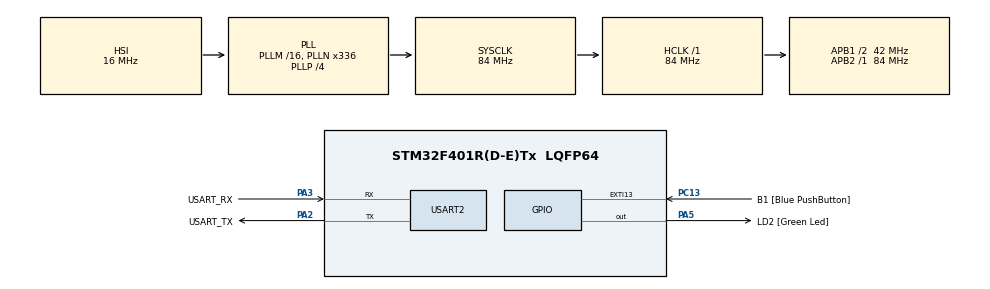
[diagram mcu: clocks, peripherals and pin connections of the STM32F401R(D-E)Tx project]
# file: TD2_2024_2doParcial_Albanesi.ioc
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FREERTOS.Tasks01=defaultTask,24,128,StartDefaultTask,Default,NULL,Dynamic,NULL,NULL
FREERTOS.configUSE_NEWLIB_REENTRANT=1
Mcu.Family=STM32F4
Mcu.Name=STM32F401R(D-E)Tx
Mcu.Package=LQFP64
NVIC.PriorityGroup=NVIC_PRIORITYGROUP_4
NVIC.TIM1_UP_TIM10_IRQn=true\:15\:0\:false\:false\:true\:false\:false\:true\:true
NVIC.TimeBase=TIM1_UP_TIM10_IRQn
NVIC.TimeBaseIP=TIM1
PA13.GPIO_Label=TMS
PA13.Mode=Serial_Wire
PA13.Signal=SYS_JTMS-SWDIO
PA14.GPIO_Label=TCK
PA14.Mode=Serial_Wire
PA14.Signal=SYS_JTCK-SWCLK
PA2.GPIO_Label=USART_TX
PA2.GPIO_Mode=GPIO_MODE_AF_PP
PA2.GPIO_PuPd=GPIO_NOPULL
PA2.GPIO_Speed=GPIO_SPEED_FREQ_LOW
PA2.Mode=Asynchronous
PA2.Signal=USART2_TX
PA3.GPIO_Label=USART_RX
PA3.GPIO_Mode=GPIO_MODE_AF_PP
PA3.GPIO_PuPd=GPIO_NOPULL
PA3.GPIO_Speed=GPIO_SPEED_FREQ_LOW
PA3.Mode=Asynchronous
PA3.Signal=USART2_RX
PA5.GPIO_Label=LD2 [Green Led]
PA5.GPIO_Mode=GPIO_MODE_OUTPUT_PP
PA5.GPIO_PuPd=GPIO_NOPULL
PA5.GPIO_Speed=GPIO_SPEED_FREQ_LOW
PA5.Signal=GPIO_Output
PB3.GPIO_Label=SWO
PB3.Signal=SYS_JTDO-SWO
PC13-ANTI_TAMP.GPIO_Label=B1 [Blue PushButton]
PC13-ANTI_TAMP.GPIO_ModeDefaultEXTI=GPIO_MODE_IT_FALLING
PC13-ANTI_TAMP.GPIO_PuPd=GPIO_NOPULL
PC13-ANTI_TAMP.Signal=GPXTI13
PC14-OSC32_IN.Mode=LSE-External-Oscillator
PC14-OSC32_IN.Signal=RCC_OSC32_IN
PC15-OSC32_OUT.Mode=LSE-External-Oscillator
PC15-OSC32_OUT.Signal=RCC_OSC32_OUT
PH0\ -\ OSC_IN.Mode=HSE-External-Clock-Source
PH0\ -\ OSC_IN.Signal=RCC_OSC_IN
PH1\ -\ OSC_OUT.Mode=HSE-External-Clock-Source
PH1\ -\ OSC_OUT.Signal=RCC_OSC_OUT
ProjectManager.HeapSize=0x200
ProjectManager.StackSize=0x400
ProjectManager.TargetToolchain=STM32CubeIDE
RCC.48MHZClocksFreq_Value=48000000
RCC.AHBFreq_Value=84000000
RCC.APB1CLKDivider=RCC_HCLK_DIV2
RCC.APB1Freq_Value=42000000
RCC.APB1TimFreq_Value=84000000
RCC.APB2Freq_Value=84000000
RCC.APB2TimFreq_Value=84000000
RCC.CortexFreq_Value=84000000
RCC.HCLKFreq_Value=84000000
RCC.HSE_VALUE=8000000
RCC.HSI_VALUE=16000000
RCC.PLLN=336
RCC.PLLP=RCC_PLLP_DIV4
RCC.PLLQ=7
RCC.SYSCLKFreq_VALUE=84000000
RCC.SYSCLKSource=RCC_SYSCLKSOURCE_PLLCLK
RCC.VCOOutputFreq_Value=336000000
USART2.VirtualMode=VM_ASYNC
VP_FREERTOS_VS_CMSIS_V2.Mode=CMSIS_V2
VP_SYS_VS_tim1.Mode=TIM1
board=NUCLEO-F401RE

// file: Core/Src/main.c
/* USER CODE BEGIN Header */
/**
  ******************************************************************************
  * @file           : main.c
  * @brief          : Main program body
  * @author			: Tomás Agustín Albanesi (171.604-9)
  * @subject		: Técnicas Digitales II
  * @year			: 2024
  * @course			: R4051
  * @title			: 2do Parcial FreeRTOS
  ******************************************************************************
  * @attention
  *
  * Copyright (c) 2024 STMicroelectronics.
  * All rights reserved.
  *
  * This software is licensed under terms that can be found in the LICENSE file
  * in the root directory of this software component.
  * If no LICENSE file comes with this software, it is provided AS-IS.
  *
  ******************************************************************************
  */
/* USER CODE END Header */
#include "main.h"
#include "cmsis_os.h"

/* USER CODE BEGIN Includes */
#include "task.h"
/* USER CODE END Includes */

/* USER CODE BEGIN PD */
#define PRIORIDAD_TAREA_BTN   (configMAX_PRIORITIES - 1)
#define PRIORIDAD_TAREA_ON    (tskIDLE_PRIORITY + 2)
#define PRIORIDAD_TAREA_OFF   (tskIDLE_PRIORITY + 2)

#define PERIODO_BTN_MS 20
#define TIEMPO_PULSACION_MS 2000
/* USER CODE END PD */

UART_HandleTypeDef huart2;

/* Definitions for defaultTask */
osThreadId_t defaultTaskHandle;
const osThreadAttr_t defaultTask_attributes = {
  .name = "defaultTask",
  .stack_size = 128 * 4,
  .priority = (osPriority_t) osPriorityNormal,
};

/* USER CODE BEGIN PV */
TaskHandle_t xHandleTareaOn = NULL, xHandleTareaOff = NULL;
/* USER CODE END PV */

void SystemClock_Config(void);
static void MX_GPIO_Init(void);
static void MX_USART2_UART_Init(void);
void StartDefaultTask(void *argument);

/* USER CODE BEGIN 0 */
void tarea_on(void *p)
{
    while (1)
    {
        HAL_GPIO_WritePin(LD2_GPIO_Port, LD2_Pin, GPIO_PIN_SET);
        vTaskDelay(500 / portTICK_PERIOD_MS);
    }
}

void tarea_off(void *p)
{
    while (1)
    {
        HAL_GPIO_WritePin(LD2_GPIO_Port, LD2_Pin, GPIO_PIN_RESET);
        vTaskDelay(500 / portTICK_PERIOD_MS);
    }
}

void tarea_btn(void *p)
{
	const TickType_t tiempo_limite = pdMS_TO_TICKS(TIEMPO_PULSACION_MS); // 2 segundos en ticks
	TickType_t tiempo_inicio;
	int estado = 0;

	while (1)
	{
		// Detecto cuando el pulsador se presiona
	    if (HAL_GPIO_ReadPin(B1_GPIO_Port, B1_Pin) == GPIO_PIN_RESET)
	    {

	    	// Tomo el tiempo de inicio
	    	tiempo_inicio = xTaskGetTickCount();

	    	while (HAL_GPIO_ReadPin(B1_GPIO_Port, B1_Pin) == GPIO_PIN_RESET)
	        {
	    		// Si la diferencia entre el tiempo actual y el tiempo de inicio es > 2seg
	    		if((xTaskGetTickCount() - tiempo_inicio) >= tiempo_limite)
	    		{
		        	estado = (estado + 1) % 3;

		        	// Switcheo entre los 3 estados posibles
		        	switch (estado)
		        	{
						case 0:
							vTaskPrioritySet(xHandleTareaOn, PRIORIDAD_TAREA_ON);
							vTaskPrioritySet(xHandleTareaOff, PRIORIDAD_TAREA_OFF);
							break;
						case 1:
							vTaskPrioritySet(xHandleTareaOn, tskIDLE_PRIORITY+1);
							vTaskPrioritySet(xHandleTareaOff, PRIORIDAD_TAREA_OFF);
							break;
						case 2:
							vTaskPrioritySet(xHandleTareaOn, PRIORIDAD_TAREA_ON);
							vTaskPrioritySet(xHandleTareaOff, tskIDLE_PRIORITY+1);
							break;
		        	}

		        	// Inserto una pequeña demora cuando el pulsador se suelta
                    while (HAL_GPIO_ReadPin(B1_GPIO_Port, B1_Pin) == GPIO_PIN_SET)
                    {
                        vTaskDelay(pdMS_TO_TICKS(20));
                    }
		        	break;
	    		}
	        }

	    }

	    // Demoro 20 mseg
	    vTaskDelay(pdMS_TO_TICKS(PERIODO_BTN_MS));
	}
}
/* USER CODE END 0 */

int main(void)
{

  /* MCU Configuration--------------------------------------------------------*/

  /* Reset of all peripherals, Initializes the Flash interface and the Systick. */
  HAL_Init();

  /* Configure the system clock */
  SystemClock_Config();

  /* Initialize all configured peripherals */
  MX_GPIO_Init();
  MX_USART2_UART_Init();

  /* Init scheduler */
  osKernelInitialize();

  /* Create the thread(s) */
  /* creation of defaultTask */
  defaultTaskHandle = osThreadNew(StartDefaultTask, NULL, &defaultTask_attributes);

  /* USER CODE BEGIN RTOS_THREADS */
  /* add threads, ... */
  xTaskCreate(tarea_btn, "TareaBTN", configMINIMAL_STACK_SIZE, NULL, PRIORIDAD_TAREA_BTN, NULL);
  xTaskCreate(tarea_on, "TareaON", configMINIMAL_STACK_SIZE, NULL, PRIORIDAD_TAREA_ON, &xHandleTareaOn);
  xTaskCreate(tarea_off, "TareaOFF", configMINIMAL_STACK_SIZE, NULL, PRIORIDAD_TAREA_OFF, &xHandleTareaOff);
  /* USER CODE END RTOS_THREADS */

  /* Start scheduler */
  osKernelStart();

  /* We should never get here as control is now taken by the scheduler */

  /* Infinite loop */
  while (1)
  {

  }
}

void SystemClock_Config(void)
{
  RCC_OscInitTypeDef RCC_OscInitStruct = {0};
  RCC_ClkInitTypeDef RCC_ClkInitStruct = {0};

  /** Configure the main internal regulator output voltage
  */
  __HAL_RCC_PWR_CLK_ENABLE();
  __HAL_PWR_VOLTAGESCALING_CONFIG(PWR_REGULATOR_VOLTAGE_SCALE2);

  /** Initializes the RCC Oscillators according to the specified parameters
  * in the RCC_OscInitTypeDef structure.
  */
  RCC_OscInitStruct.OscillatorType = RCC_OSCILLATORTYPE_HSI;
  RCC_OscInitStruct.HSIState = RCC_HSI_ON;
  RCC_OscInitStruct.HSICalibrationValue = RCC_HSICALIBRATION_DEFAULT;
  RCC_OscInitStruct.PLL.PLLState = RCC_PLL_ON;
  RCC_OscInitStruct.PLL.PLLSource = RCC_PLLSOURCE_HSI;
  RCC_OscInitStruct.PLL.PLLM = 16;
  RCC_OscInitStruct.PLL.PLLN = 336;
  RCC_OscInitStruct.PLL.PLLP = RCC_PLLP_DIV4;
  RCC_OscInitStruct.PLL.PLLQ = 7;
  if (HAL_RCC_OscConfig(&RCC_OscInitStruct) != HAL_OK)
  {
    Error_Handler();
  }

  /** Initializes the CPU, AHB and APB buses clocks
  */
  RCC_ClkInitStruct.ClockType = RCC_CLOCKTYPE_HCLK|RCC_CLOCKTYPE_SYSCLK
                              |RCC_CLOCKTYPE_PCLK1|RCC_CLOCKTYPE_PCLK2;
  RCC_ClkInitStruct.SYSCLKSource = RCC_SYSCLKSOURCE_PLLCLK;
  RCC_ClkInitStruct.AHBCLKDivider = RCC_SYSCLK_DIV1;
  RCC_ClkInitStruct.APB1CLKDivider = RCC_HCLK_DIV2;
  RCC_ClkInitStruct.APB2CLKDivider = RCC_HCLK_DIV1;

  if (HAL_RCC_ClockConfig(&RCC_ClkInitStruct, FLASH_LATENCY_2) != HAL_OK)
  {
    Error_Handler();
  }
}

static void MX_USART2_UART_Init(void)
{

  huart2.Instance = USART2;
  huart2.Init.BaudRate = 115200;
  huart2.Init.WordLength = UART_WORDLENGTH_8B;
  huart2.Init.StopBits = UART_STOPBITS_1;
  huart2.Init.Parity = UART_PARITY_NONE;
  huart2.Init.Mode = UART_MODE_TX_RX;
  huart2.Init.HwFlowCtl = UART_HWCONTROL_NONE;
  huart2.Init.OverSampling = UART_OVERSAMPLING_16;
  if (HAL_UART_Init(&huart2) != HAL_OK)
  {
    Error_Handler();
  }

}

static void MX_GPIO_Init(void)
{
  GPIO_InitTypeDef GPIO_InitStruct = {0};

  /* GPIO Ports Clock Enable */
  __HAL_RCC_GPIOC_CLK_ENABLE();
  __HAL_RCC_GPIOH_CLK_ENABLE();
  __HAL_RCC_GPIOA_CLK_ENABLE();
  __HAL_RCC_GPIOB_CLK_ENABLE();

  /*Configure GPIO pin Output Level */
  HAL_GPIO_WritePin(LD2_GPIO_Port, LD2_Pin, GPIO_PIN_RESET);

  /*Configure GPIO pin : B1_Pin */
  GPIO_InitStruct.Pin = B1_Pin;
  GPIO_InitStruct.Mode = GPIO_MODE_IT_FALLING;
  GPIO_InitStruct.Pull = GPIO_NOPULL;
  HAL_GPIO_Init(B1_GPIO_Port, &GPIO_InitStruct);

  /*Configure GPIO pin : LD2_Pin */
  GPIO_InitStruct.Pin = LD2_Pin;
  GPIO_InitStruct.Mode = GPIO_MODE_OUTPUT_PP;
  GPIO_InitStruct.Pull = GPIO_NOPULL;
  GPIO_InitStruct.Speed = GPIO_SPEED_FREQ_LOW;
  HAL_GPIO_Init(LD2_GPIO_Port, &GPIO_InitStruct);

}

void StartDefaultTask(void *argument)
{
  for(;;)
  {
    osDelay(1);
  }
}

void HAL_TIM_PeriodElapsedCallback(TIM_HandleTypeDef *htim)
{
  if (htim->Instance == TIM1) {
    HAL_IncTick();
  }
}

void Error_Handler(void)
{
  __disable_irq();
  while (1)
  {
  }
}
